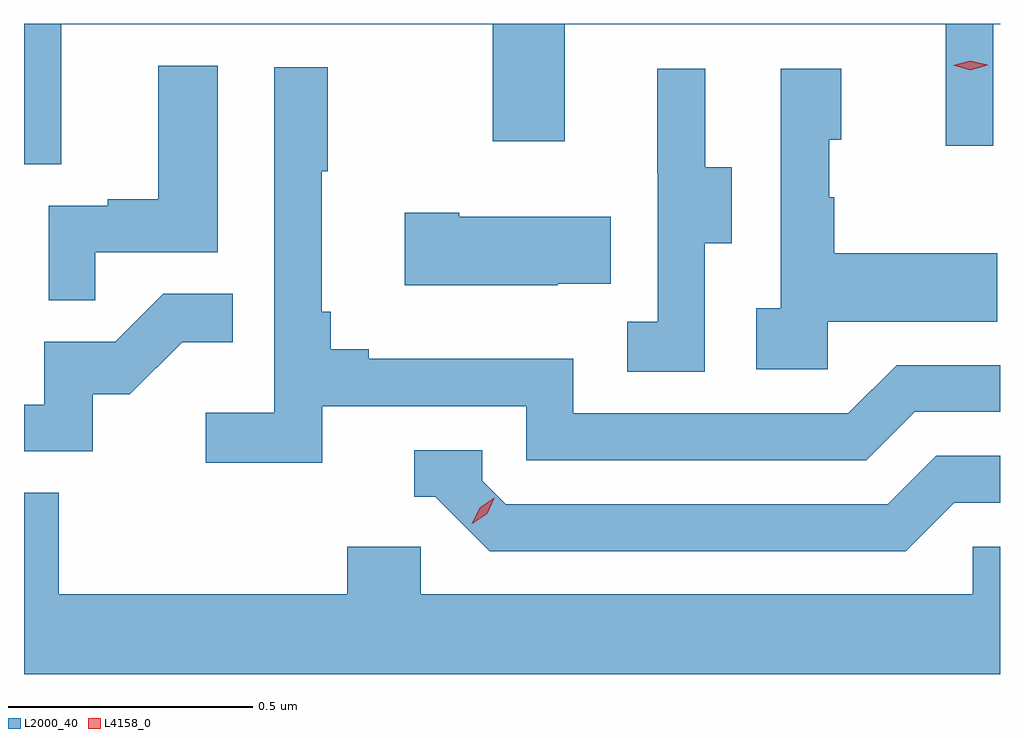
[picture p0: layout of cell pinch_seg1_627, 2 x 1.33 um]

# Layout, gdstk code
import gdstk
lib = gdstk.Library(unit=1e-6, precision=1e-09)
def P(c, l, *ps):  # polygons
    for p in ps: c.add(gdstk.Polygon(p, *l))
L2000_40 = (2000, 40)
L4158_0 = (4158, 0)

pinch_seg1_627 = lib.new_cell('pinch_seg1_627')
P(pinch_seg1_627, L2000_40, [(1078.617,512.818),(1078.693,512.818),(1078.693,513.104),(1079.578,513.104),(1079.578,512.865),(1079.725,512.865),(1079.725,513.104),(1080.506,513.104),(1080.506,512.856),(1080.603,512.856),(1080.603,513.104),(1080.617,513.104),(1080.617,513.106),(1078.617,513.106)],
  [(1078.763,512.637),(1079.014,512.637),(1079.014,513.019),(1078.892,513.019),(1078.892,512.746),(1078.789,512.746),(1078.789,512.733),(1078.668,512.733),(1078.668,512.539),(1078.763,512.539)],
  [(1079.228,512.322),(1079.646,512.322),(1079.646,512.211),(1080.343,512.211),(1080.442,512.31),(1080.617,512.31),(1080.617,512.406),(1080.405,512.406),(1080.306,512.307),(1079.742,512.307),(1079.742,512.419),(1079.323,512.419),(1079.323,512.438),(1079.246,512.438),(1079.246,512.515),(1079.227,512.515),(1079.227,512.803),(1079.239,512.803),(1079.239,513.016),(1079.13,513.016),(1079.13,512.308),(1078.989,512.308),(1078.989,512.206),(1079.228,512.206)],
  [(1080.264,512.495),(1080.611,512.495),(1080.611,512.635),(1080.277,512.635),(1080.277,512.75),(1080.267,512.75),(1080.267,512.868),(1080.292,512.868),(1080.292,513.013),(1080.168,513.013),(1080.168,512.522),(1080.117,512.522),(1080.117,512.397),(1080.264,512.397)],
  [(1080.012,512.656),(1080.067,512.656),(1080.067,512.811),(1080.013,512.811),(1080.013,513.013),(1079.915,513.013),(1079.915,512.799),(1079.916,512.799),(1079.916,512.495),(1079.853,512.495),(1079.853,512.392),(1080.012,512.392)],
  [(1079.711,512.573),(1079.819,512.573),(1079.819,512.71),(1079.509,512.71),(1079.509,512.718),(1079.397,512.718),(1079.397,512.57),(1079.711,512.57)],
  [(1078.758,512.346),(1078.834,512.346),(1078.941,512.453),(1079.045,512.453),(1079.045,512.552),(1078.902,512.552),(1078.804,512.454),(1078.659,512.454),(1078.659,512.325),(1078.617,512.325),(1078.617,512.229),(1078.758,512.229)],
  [(1080.523,512.124),(1080.617,512.124),(1080.617,512.22),(1080.486,512.22),(1080.387,512.121),(1079.604,512.121),(1079.556,512.169),(1079.556,512.232),(1079.417,512.232),(1079.417,512.136),(1079.46,512.136),(1079.571,512.025),(1080.424,512.025)],
  [(1080.617,512.034),(1080.561,512.034),(1080.561,511.936),(1079.43,511.936),(1079.43,512.034),(1079.279,512.034),(1079.279,511.936),(1078.688,511.936),(1078.688,512.144),(1078.617,512.144),(1078.617,511.772),(1080.617,511.772)])
P(pinch_seg1_627, L4158_0, [(1079.535,512.081),(1079.535,512.081),(1079.551,512.114),(1079.581,512.134),(1079.581,512.134),(1079.581,512.133),(1079.566,512.101),(1079.536,512.081)],
  [(1080.556,513.01),(1080.521,513.02),(1080.52,513.02),(1080.521,513.02),(1080.556,513.03),(1080.592,513.021),(1080.592,513.021),(1080.592,513.02)])

lib.write_gds('pinch_seg1_627.gds')
